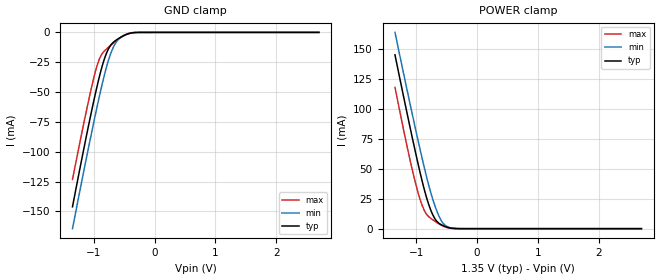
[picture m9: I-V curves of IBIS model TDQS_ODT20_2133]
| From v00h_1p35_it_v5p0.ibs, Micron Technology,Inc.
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| MODEL TDQS_ODT20_2133 (TDQS Terminator Model with 20ohm ODT, 2133Mbps)
[Model]   TDQS_ODT20_2133
Model_type   Terminator
|   typ   min   max
|C_comp   0.955pF   0.842pF   1.103pF
C_comp_power_clamp   0.4775pF   0.4210pF   0.5515pF
C_comp_gnd_clamp   0.4775pF   0.4210pF   0.5515pF
| Note: C_comp changes when the ODT circuit is enabled.
[Voltage Range]   1.3500V   1.2830V   1.4250V
| Junction Temperature (Ambient temp is 35C typ, 95C min, -40C max)
[Temperature Range]   50.0   110.0   -40.0
[Add Submodel]
| Submodel Name   Mode
20ohm_ODT_2133   Non-Driving
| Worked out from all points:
|   GND clamp passes 1 mA (typ) near -0.42 V on its own axis
|   POWER clamp passes 1 mA (typ) near -0.48 V on its own axis
[GND Clamp]
|   Voltage   I(typ)   I(min)   I(max)
-1.35V    -146.2mA   -164.5mA   -123.2mA
-1.085V   -77.86mA   -96.29mA   -57.13mA
-995mV    -56.27mA   -74.1mA    -37.08mA
-930mV    -41.77mA   -58.66mA   -25.36mA
-870mV    -29.77mA   -45.11mA   -18.48mA
-820mV    -21.43mA   -34.64mA   -15.32mA
-770mV    -15.04mA   -25.31mA   -12.93mA
-670mV    -7.931mA   -11.54mA   -8.571mA
-565mV    -4.295mA   -4.48mA    -4.495mA
-440mV    -1.295mA   -1.291mA   -1.012mA
-325mV    -145.2uA   -191.4uA   -48.03uA
2.7V      0A         0A         0A
[POWER Clamp]
|   Voltage   I(typ)   I(min)   I(max)
-1.35V    145.1mA    163.8mA    118mA
-1.2V     108.2mA    127.5mA    80.42mA
-1.07V    76.99mA    96.58mA    50.07mA
-985mV    57.37mA    76.89mA    32.7mA
-915mV    42.1mA     61.16mA    21.03mA
-835mV    26.61mA    44.11mA    12.31mA
-730mV    11.75mA    24.71mA    7.455mA
-625mV    4.412mA    10.26mA    3.983mA
-525mV    1.788mA    2.801mA    1.436mA
-435mV    528.8uA    725.1uA    261.2uA
-265mV    11.41uA    27.59uA    0A
2.7V      0A         0A         0A
